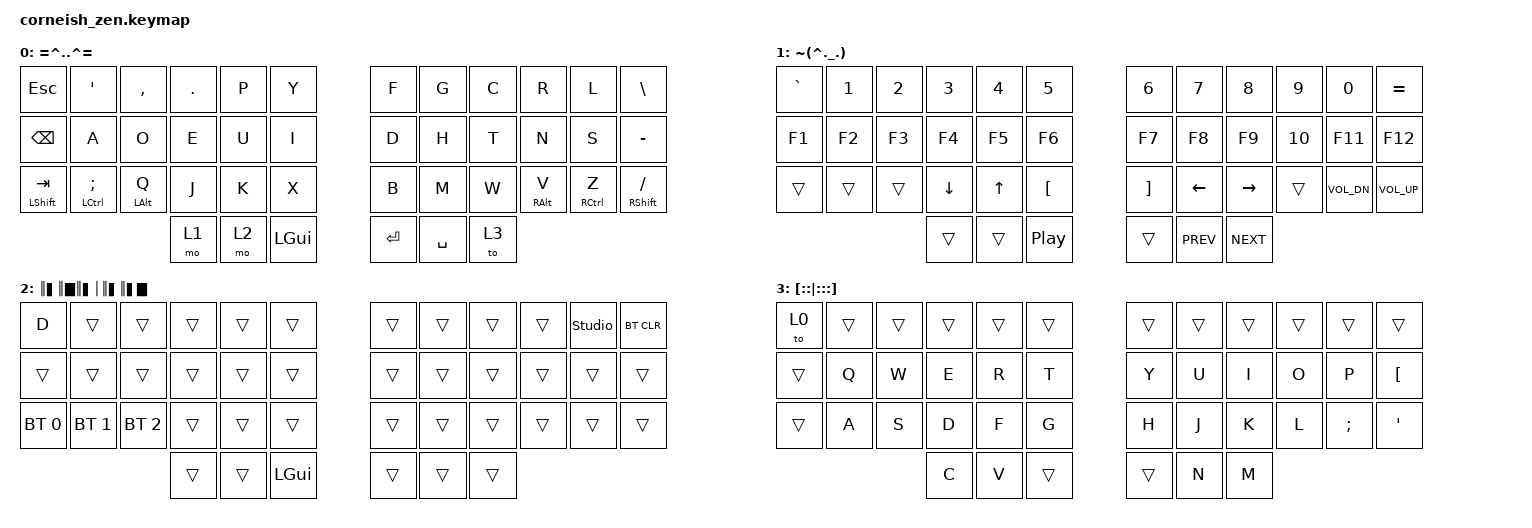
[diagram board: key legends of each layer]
/*
*
* Copyright (c) 2021 Darryl deHaan
* SPDX-License-Identifier: MIT
*
*/

#include <behaviors.dtsi>
#include <dt-bindings/zmk/keys.h>
#include <dt-bindings/zmk/bt.h>

/ {
    compatible = "zmk,keyboard";
    zmk,studio-compatible;

  chosen {
    zmk,matrix_transform = &default_transform;
    //zmk,matrix_transform = &five_column_transform;
  };
};

/ {
        keymap {
                compatible = "zmk,keymap";

                default_layer {
                        label = "=^..^=";
// -----------------------------------------------------------------------------------------
// |  ESC |  ,  |  .  |  .  |  P  |  Y  |   |  F  |  G   |  C  |  R  |  L  |  \   |
// | BSPC |  A  |  O  |  E  |  U  |  I  |   |  D  |  H   |  T  |  N  |  S  |  -   |
// | SHFT |  ;  |  Q  |  J  |  K  |  X  |   |  B  |  M   |  W  |  V  |  Z  |  /   |
//                    | MO1 | SPC | GUI |   | ENT | SPC  | MO2 |
                        bindings = <
   &kp ESC       &kp SQT        &kp COMMA  &kp DOT &kp P  &kp Y      &kp F   &kp G     &kp C   &kp R      &kp L       &kp BSLH
   &kp BSPC      &kp A          &kp O      &kp E   &kp U  &kp I      &kp D   &kp H     &kp T   &kp N      &kp S       &kp MINUS
   &mt LSHFT TAB &mt LCTRL SEMI &mt LALT Q &kp J   &kp K  &kp X      &kp B   &kp M     &kp W   &mt RALT V &mt RCTRL Z &mt RSHFT FSLH
                                           &mo 1   &mo 2  &kp LGUI   &kp RET &kp SPACE &to 3
                        >;
                };

                lower_layer {
                        label = "~(^._.)";
// -----------------------------------------------------------------------------------------
// |   `  |  1  |  2  |  3   |  4  |  5   |   |  6   |  7   |   8   |  9  |  0  | EQUAL |
// |  F1  |  F2 |  F3 |  F4  |  F5 |  F6  |   |  F7  |  F8  |   F9  | F10 | F11 |  F12  |
// | BTCLR| BT1 | BT2 | DOWN |  UP | LBRC |   | RBRC | LEFT | RIGHT |     |     |       |
//                    |      |     | BTCLR |   |     |      |     |
                        bindings = <
   &kp GRAVE  &kp N1   &kp N2   &kp N3     &kp N4  &kp N5      &kp N6     &kp N7       &kp N8      &kp N9  &kp N0        &kp EQUAL
   &kp F1     &kp F2   &kp F3   &kp F4     &kp F5  &kp F6      &kp F7     &kp F8       &kp F9      &kp 10  &kp F11       &kp F12
   &trans     &trans   &trans   &kp DOWN   &kp UP  &kp LBKT    &kp RBKT   &kp LEFT     &kp RIGHT   &trans  &kp C_VOL_DN  &kp C_VOL_UP
                                &trans     &trans  &kp C_PP    &trans     &kp C_PREV   &kp C_NEXT
                        >;
                };

                raise_layer {
                        label = "║▌║█║▌│║▌║▌█";
// -----------------------------------------------------------------------------------------
// |   `  |  1  |  2  |  3   |  4  |  5   |   |  6   |  7   |   8   |  9  |  0  | EQUAL |
// |  F1  |  F2 |  F3 |  F4  |  F5 |  F6  |   |  F7  |  F8  |   F9  | F10 | F11 |  F12  |
// | BTCLR| BT1 | BT2 | DOWN |  UP | LBRC |   | RBRC | LEFT | RIGHT |     |     |       |
//                    |      |     | BTCLR |   |     |      |     |
                        bindings = <
   &kp D        &trans       &trans        &trans   &trans   &trans       &trans   &trans   &trans   &trans   &studio_unlock   &bt BT_CLR
   &trans       &trans       &trans        &trans   &trans   &trans       &trans   &trans   &trans   &trans   &trans           &trans
   &bt BT_SEL 0 &bt BT_SEL 1 &bt BT_SEL 2  &trans   &trans   &trans       &trans   &trans   &trans   &trans   &trans           &trans
                          	           &trans   &trans   &kp LGUI     &trans   &trans   &trans
                        >;
                };

		adjust_layer {
                        label = "[::|:::]";
// -----------------------------------------------------------------------------------------
// |  TAB |  Q  |  W  |  E  |  R  |  T  |   |  Y  |  U   |  I  |  O  |  P  | BKSP |
// | CTRL |  A  |  S  |  D  |  F  |  G  |   |  H  |  J   |  K  |  L  |  ;  |  '   |
// | SHFT |  Z  |  X  |  C  |  V  |  B  |   |  N  |  M   |  ,  |  .  |  /  | ESC  |
//                    | GUI | C | V |   | N | M  | ALT |
                        bindings = <
   &to 0  &trans &trans &trans &trans &trans   &trans &trans  &trans &trans &trans   &trans
   &trans &kp Q  &kp W  &kp E  &kp R  &kp T    &kp Y  &kp U   &kp I  &kp O  &kp P    &kp LBKT
   &trans &kp A  &kp S  &kp D  &kp F  &kp G    &kp H  &kp J   &kp K  &kp L  &kp SEMI &kp SQT
                        &kp C  &kp V &trans    &trans &kp N  &kp M
                        >;
                };
        };
};
